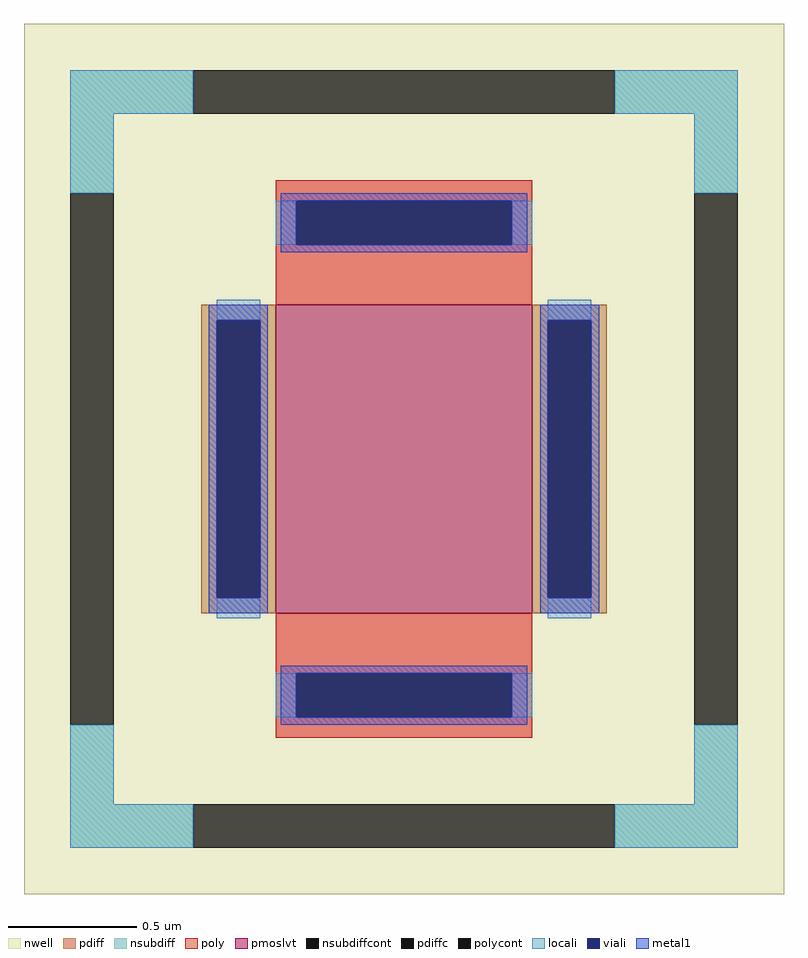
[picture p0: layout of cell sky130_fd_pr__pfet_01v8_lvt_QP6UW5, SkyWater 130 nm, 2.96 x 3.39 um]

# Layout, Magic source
magic
tech sky130A
magscale 1 2
<< nwell >>
rect -296 -339 296 339
<< pmoslvt >>
rect -100 -120 100 120
<< pdiff >>
rect -158 108 -100 120
rect -158 -108 -146 108
rect -112 -108 -100 108
rect -158 -120 -100 -108
rect 100 108 158 120
rect 100 -108 112 108
rect 146 -108 158 108
rect 100 -120 158 -108
<< pdiffc >>
rect -146 -108 -112 108
rect 112 -108 146 108
<< nsubdiff >>
rect -260 269 -164 303
rect 164 269 260 303
rect -260 207 -226 269
rect 226 207 260 269
rect -260 -269 -226 -207
rect 226 -269 260 -207
rect -260 -303 -164 -269
rect 164 -303 260 -269
<< nsubdiffcont >>
rect -164 269 164 303
rect -260 -207 -226 207
rect 226 -207 260 207
rect -164 -303 164 -269
<< poly >>
rect -100 201 100 217
rect -100 167 -84 201
rect 84 167 100 201
rect -100 120 100 167
rect -100 -167 100 -120
rect -100 -201 -84 -167
rect 84 -201 100 -167
rect -100 -217 100 -201
<< polycont >>
rect -84 167 84 201
rect -84 -201 84 -167
<< locali >>
rect -260 269 -164 303
rect 164 269 260 303
rect -260 207 -226 269
rect 226 207 260 269
rect -100 167 -84 201
rect 84 167 100 201
rect -146 108 -112 124
rect -146 -124 -112 -108
rect 112 108 146 124
rect 112 -124 146 -108
rect -100 -201 -84 -167
rect 84 -201 100 -167
rect -260 -269 -226 -207
rect 226 -269 260 -207
rect -260 -303 -164 -269
rect 164 -303 260 -269
<< viali >>
rect -84 167 84 201
rect -146 -108 -112 108
rect 112 -108 146 108
rect -84 -201 84 -167
<< metal1 >>
rect -96 201 96 207
rect -96 167 -84 201
rect 84 167 96 201
rect -96 161 96 167
rect -152 108 -106 120
rect -152 -108 -146 108
rect -112 -108 -106 108
rect -152 -120 -106 -108
rect 106 108 152 120
rect 106 -108 112 108
rect 146 -108 152 108
rect 106 -120 152 -108
rect -96 -167 96 -161
rect -96 -201 -84 -167
rect 84 -201 96 -167
rect -96 -207 96 -201
<< properties >>
string FIXED_BBOX -243 -286 243 286
string gencell sky130_fd_pr__pfet_01v8_lvt
string library sky130
string parameters w 1.2 l 1.0 m 1 nf 1 diffcov 100 polycov 100 guard 1 glc 1 grc 1 gtc 1 gbc 1 tbcov 100 rlcov 100 topc 1 botc 1 poverlap 0 doverlap 1 lmin 0.35 wmin 0.42 class mosfet compatible {sky130_fd_pr__pfet_01v8  sky130_fd_pr__pfet_01v8_lvt sky130_fd_pr__pfet_01v8_hvt  sky130_fd_pr__pfet_g5v0d10v5} full_metal 1 viasrc 100 viadrn 100 viagate 100 viagb 0 viagr 0 viagl 0 viagt 0 ad {int((nf+1)/2) * W/nf * 0.29} as {int((nf+2)/2) * W/nf * 0.29} pd {2*int((nf+1)/2) * (W/nf + 0.29)} ps {2*int((nf+2)/2) * (W/nf + 0.29)} nrd {0.29 / W} nrs {0.29 / W} sa 0 sb 0 sd 0 mult 1
<< end >>
